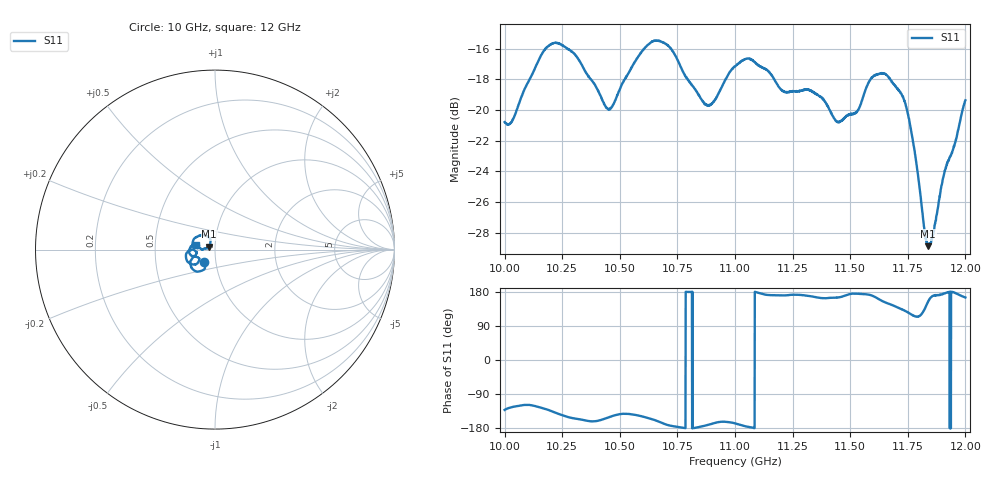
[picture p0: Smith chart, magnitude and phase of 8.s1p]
[Version] 2.0
! Rohde & Schwarz Vector Network Analyzer
! Rohde-Schwarz,ZNL20-2Port,1323001220200009,1.71.1.10-23.02.1.238
! Port Assignments:
! Nominal Port -> Actual Test Port
!  1 -> 1
! Created: GMT 2024-08-27 13:51:41
# Hz S DB R 50
[Number of Ports] 1
! freq[Hz]  S11[mag dB]  S11[ang]
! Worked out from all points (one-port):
!   2001 points, 10 GHz to 12 GHz, reference 50 ohm
!   lowest |S11| = -28.9 dB at 11.84 GHz (marker M1), VSWR 1.07, Z = 46.8 + j1.45 ohm
!   |S11| at or under -10 dB: start of sweep to end of sweep
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[Number of Frequencies] 28
[Network Data]
1e10  -20.79 -131.8
1.0035e10  -20.67 -123.9
1.0173e10  -16.08 -128.4
1.025e10  -15.77 -145.7
1.0314e10  -16.55 -155.3
1.0446e10  -19.91 -152.4
1.05e10  -18.64 -142.9
1.0641e10  -15.52 -156.5
1.0701e10  -15.70 -170.2
1.075e10  -16.72 -176.4
1.0882e10  -19.71 -171.5
1.1e10  -17.15 -167.3
1.1066e10  -16.68 -177.4
1.125e10  -18.77 172.0
1.1366e10  -19.10 164.1
1.1445e10  -20.80 164.9
1.15e10  -20.27 174.2
1.1533e10  -20.02 174.9
1.1592e10  -17.92 170.5
1.164e10  -17.60 155.4
1.1721e10  -18.92 134.5
1.175e10  -20.27 125.5
1.1786e10  -23.36 114.7
1.1824e10  -27.96 135.2
1.1838e10  -28.89 154.5
1.1855e10  -28.39 167.5
1.1909e10  -24.08 175.6
1.2e10  -19.37 164.9
[End]
